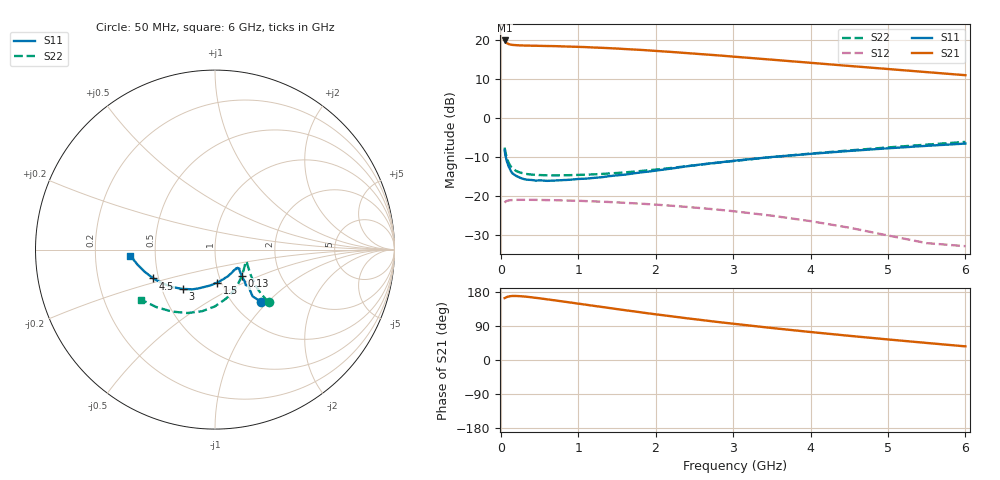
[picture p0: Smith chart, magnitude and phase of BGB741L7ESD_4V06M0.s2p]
! (c) 2009  Infineon Technologies AG, Munich
!  Infineon Technologies AG
!  BGB741L7ESD
!  Vce = 4.0V, Ic = 6.0mA
!  DATUM: 30.06.2009 10:09:55
# GHz  S  MA  R  50
!f  S11  S21  S12  S22
!GHz  Mag  Ang  Mag  Ang  Mag  Ang  Mag  Ang
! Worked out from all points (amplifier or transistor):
!   44 points, 50 MHz to 6 GHz, reference 50 ohm
!   highest |S21| = 20.0 dB at 50 MHz (marker M1)
!   |S21| within 3 dB of that: start of sweep to 2.234 GHz
!   unconditionally stable (mu >= 1): 189.2 MHz to end of sweep
!   at 120 MHz: K = 0.97, MSG = 20.0 dB, |S12| = -21.1 dB
!   at 1 GHz: K = 1.03, MAG = 18.7 dB, |S12| = -21.3 dB
!   at 6 GHz: K = 3.43, MAG = 13.7 dB, |S12| = -32.9 dB
!   lowest NFmin = 1.02 dB at 450 MHz
!   S11 on the Smith chart (normalised r, x): 50 MHz: 1.33, -0.91; 130 MHz: 1.28, -0.40; 1.5 GHz: 0.96, -0.36; 3 GHz: 0.64, -0.31; 4.5 GHz: 0.47, -0.18; 6 GHz: 0.36, -0.03
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0.05  0.3872 -48.6  10.01 163.3  0.08195 22.7  0.4185 -44.5
0.07  0.3055 -49.7  9.397 165.4  0.0855 16.2  0.3342 -43.1
0.08  0.2772 -47.4  9.208 166.2  0.08642 14.1  0.3079 -41.8
0.09  0.2612 -49.1  9.142 167.0  0.08693 12.4  0.2872 -40.3
0.1  0.2412 -46.8  8.996 167.4  0.08724 11.0  0.2713 -38.8
0.13  0.2097 -44.7  8.858 168.6  0.08828 8.0  0.2402 -34.7
0.15  0.1957 -42.8  8.775 168.9  0.08853 6.6  0.2276 -32.3
0.2  0.1808 -40.5  8.704 168.9  0.08896 4.1  0.2094 -28.0
0.35  0.1614 -38.8  8.596 166.6  0.08914 -0.2  0.1907 -22.0
0.7  0.1579 -51.3  8.46 157.3  0.08814 -5.7  0.1838 -21.9
1.1  0.1668 -69.4  8.215 145.9  0.08591 -10.5  0.1875 -27.7
1.5  0.184 -85.7  7.875 134.4  0.08266 -14.8  0.1974 -36.6
1.9  0.2055 -100.1  7.466 123.3  0.07853 -18.7  0.2136 -47.0
2.2  0.2249 -109.4  7.126 115.5  0.0749 -21.4  0.2291 -55.6
2.6  0.2554 -119.9  6.659 105.3  0.06954 -24.6  0.2539 -66.8
3  0.2826 -129.0  6.205 95.7  0.0637 -27.3  0.2809 -77.7
3.5  0.317 -138.8  5.664 84.5  0.05577 -29.8  0.3166 -90.2
4  0.3478 -147.3  5.165 73.9  0.04744 -31.0  0.3507 -101.8
4.5  0.3791 -154.9  4.707 63.8  0.03907 -29.7  0.3852 -113.4
5  0.4102 -162.3  4.295 54.2  0.031 -24.2  0.4209 -124.9
5.5  0.4413 -169.3  3.918 45.0  0.02472 -11.0  0.4578 -135.6
6  0.472 -175.9  3.577 36.0  0.02259 10.3  0.496 -145.7
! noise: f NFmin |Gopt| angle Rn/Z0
0.45  1.02  0.04  44  0.14
0.9  1.03  0.07  73  0.16
1.8  1.06  0.09  84  0.2
2.4  1.11  0.11  92  0.26
3  1.18  0.14  132  0.22
5.5  1.82  0.18  160  0.17
